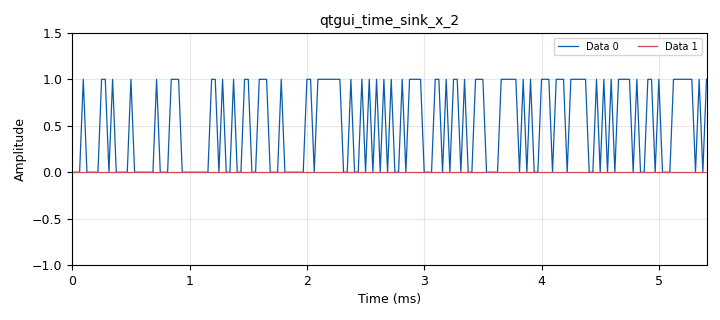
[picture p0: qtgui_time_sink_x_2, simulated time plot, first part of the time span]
<?xml version='1.0' encoding='utf-8'?>
<?grc format='1' created='3.7.11'?>
<flow_graph>
<block>
<key>options</key>
<param><key>id</key><value>corr_test</value></param>
<param><key>generate_options</key><value>qt_gui</value></param>
</block>
<block>
<key>variable</key>
<param><key>id</key><value>SPS</value></param>
<param><key>comment</key><value>Samples 
per signal</value></param>
<param><key>_enabled</key><value>0</value></param>
<param><key>value</key><value>50</value></param>
</block>
<block>
<key>variable</key>
<param><key>id</key><value>samp_rate</value></param>
<param><key>value</key><value>32000</value></param>
</block>
<block>
<key>analog_const_source_x</key>
<param><key>id</key><value>analog_const_source_x_0</value></param>
<param><key>const</key><value>0</value></param>
<param><key>type</key><value>float</value></param>
</block>
<block>
<key>analog_random_source_x</key>
<param><key>id</key><value>analog_random_source_x_0</value></param>
<param><key>max</key><value>256</value></param>
<param><key>min</key><value>0</value></param>
<param><key>num_samps</key><value>50</value></param>
<param><key>type</key><value>byte</value></param>
<param><key>repeat</key><value>True</value></param>
</block>
<block>
<key>blocks_char_to_float</key>
<param><key>id</key><value>blocks_char_to_float_0</value></param>
<param><key>_enabled</key><value>0</value></param>
<param><key>scale</key><value>1</value></param>
</block>
<block>
<key>blocks_char_to_float</key>
<param><key>id</key><value>blocks_char_to_float_1</value></param>
<param><key>_enabled</key><value>0</value></param>
<param><key>scale</key><value>1</value></param>
</block>
<block>
<key>blocks_char_to_float</key>
<param><key>id</key><value>blocks_char_to_float_2</value></param>
<param><key>_enabled</key><value>0</value></param>
<param><key>scale</key><value>1</value></param>
</block>
<block>
<key>blocks_char_to_float</key>
<param><key>id</key><value>blocks_char_to_float_2_0</value></param>
<param><key>scale</key><value>1</value></param>
</block>
<block>
<key>blocks_file_source</key>
<param><key>id</key><value>blocks_file_source_0</value></param>
<param><key>_enabled</key><value>0</value></param>
<param><key>file</key><value>/home/peter/Desktop/acoustic_radio/Testings/bin_test.txt</value></param>
<param><key>type</key><value>byte</value></param>
<param><key>repeat</key><value>True</value></param>
</block>
<block>
<key>blocks_float_to_char</key>
<param><key>id</key><value>blocks_float_to_char_0</value></param>
<param><key>_enabled</key><value>0</value></param>
<param><key>scale</key><value>1</value></param>
</block>
<block>
<key>blocks_message_debug</key>
<param><key>id</key><value>blocks_message_debug_0_0</value></param>
<param><key>comment</key><value>Display the message that was sent.</value></param>
<param><key>_enabled</key><value>0</value></param>
</block>
<block>
<key>blocks_repack_bits_bb</key>
<param><key>id</key><value>blocks_repack_bits_bb_0</value></param>
<param><key>k</key><value>8</value></param>
<param><key>l</key><value>1</value></param>
<param><key>endianness</key><value>gr.GR_MSB_FIRST</value></param>
<param><key>len_tag_key</key><value>len_key</value></param>
</block>
<block>
<key>blocks_repack_bits_bb</key>
<param><key>id</key><value>blocks_repack_bits_bb_0_0_0_0</value></param>
<param><key>k</key><value>1</value></param>
<param><key>l</key><value>8</value></param>
<param><key>comment</key><value>Tagged Stream to PDU block up ahead needs packed bytes</value></param>
<param><key>endianness</key><value>gr.GR_MSB_FIRST</value></param>
<param><key>len_tag_key</key><value>len_key2</value></param>
</block>
<block>
<key>blocks_repeat</key>
<param><key>id</key><value>blocks_repeat_0</value></param>
<param><key>comment</key><value>Establish number of
samples per symbol</value></param>
<param><key>_enabled</key><value>0</value></param>
<param><key>interp</key><value>SPS-1</value></param>
<param><key>type</key><value>byte</value></param>
</block>
<block>
<key>blocks_stream_to_tagged_stream</key>
<param><key>id</key><value>blocks_stream_to_tagged_stream_1</value></param>
<param><key>len_tag_key</key><value>"len_key"</value></param>
<param><key>packet_len</key><value>8</value></param>
<param><key>type</key><value>byte</value></param>
</block>
<block>
<key>blocks_tag_gate</key>
<param><key>id</key><value>blocks_tag_gate_0</value></param>
<param><key>type</key><value>byte</value></param>
<param><key>propagate_tags</key><value>False</value></param>
</block>
<block>
<key>blocks_tagged_stream_mux</key>
<param><key>id</key><value>blocks_tagged_stream_mux_0</value></param>
<param><key>comment</key><value>Append header to payload</value></param>
<param><key>type</key><value>byte</value></param>
<param><key>lengthtagname</key><value>len_key</value></param>
<param><key>ninputs</key><value>2</value></param>
</block>
<block>
<key>blocks_tagged_stream_to_pdu</key>
<param><key>id</key><value>blocks_tagged_stream_to_pdu_0_0</value></param>
<param><key>_enabled</key><value>0</value></param>
<param><key>type</key><value>byte</value></param>
<param><key>tag</key><value>len_key2</value></param>
</block>
<block>
<key>blocks_throttle</key>
<param><key>id</key><value>blocks_throttle_0</value></param>
<param><key>samples_per_second</key><value>samp_rate</value></param>
<param><key>type</key><value>byte</value></param>
</block>
<block>
<key>digital_correlate_access_code_xx_ts</key>
<param><key>id</key><value>digital_correlate_access_code_xx_ts_1_0_0</value></param>
<param><key>access_code</key><value>11001010</value></param>
<param><key>comment</key><value>Correlates with access code to extract the payload.
This block takes one bit per byte.</value></param>
<param><key>type</key><value>byte</value></param>
<param><key>tagname</key><value>len_key</value></param>
<param><key>threshold</key><value>2</value></param>
</block>
<block>
<key>digital_protocol_formatter_bb</key>
<param><key>id</key><value>digital_protocol_formatter_bb_0</value></param>
<param><key>comment</key><value>Generate header</value></param>
<param><key>format</key><value>hdr_format</value></param>
<param><key>len_tag_key</key><value>len_key</value></param>
</block>
<block>
<key>fec_ber_bf</key>
<param><key>id</key><value>fec_ber_bf_0</value></param>
<param><key>berminerrors</key><value>8000</value></param>
<param><key>test_mode</key><value>True</value></param>
</block>
<block>
<key>parameter</key>
<param><key>id</key><value>hdr_format</value></param>
<param><key>comment</key><value>Header format definition</value></param>
<param><key>label</key><value>Header Formatter</value></param>
<param><key>value</key><value>digital.header_format_default('110010101100101011001010', 0)</value></param>
</block>
<block>
<key>math</key>
<param><key>id</key><value>math_0</value></param>
<param><key>num_inputs</key><value>1</value></param>
<param><key>function</key><value>100*10^x</value></param>
</block>
<block>
<key>qtgui_number_sink</key>
<param><key>id</key><value>qtgui_number_sink_0</value></param>
<param><key>autoscale</key><value>True</value></param>
<param><key>graph_type</key><value>qtgui.NUM_GRAPH_HORIZ</value></param>
<param><key>type</key><value>float</value></param>
</block>
<block>
<key>qtgui_time_sink_x</key>
<param><key>id</key><value>qtgui_time_sink_x_0</value></param>
<param><key>_enabled</key><value>0</value></param>
<param><key>color1</key><value>"blue"</value></param>
<param><key>label1</key><value></value></param>
<param><key>size</key><value>1024</value></param>
<param><key>srate</key><value>samp_rate</value></param>
<param><key>type</key><value>float</value></param>
</block>
<block>
<key>qtgui_time_sink_x</key>
<param><key>id</key><value>qtgui_time_sink_x_2</value></param>
<param><key>color1</key><value>"blue"</value></param>
<param><key>label1</key><value></value></param>
<param><key>color2</key><value>"red"</value></param>
<param><key>label2</key><value></value></param>
<param><key>nconnections</key><value>2</value></param>
<param><key>size</key><value>2048</value></param>
<param><key>srate</key><value>samp_rate</value></param>
<param><key>type</key><value>float</value></param>
<param><key>ymax</key><value>1.5</value></param>
</block>
<block>
<key>rational_resampler_xxx</key>
<param><key>id</key><value>rational_resampler_xxx_0</value></param>
<param><key>decim</key><value>SPS-1</value></param>
<param><key>_enabled</key><value>0</value></param>
<param><key>interp</key><value>1</value></param>
<param><key>taps</key><value></value></param>
<param><key>type</key><value>fff</value></param>
</block>
<connection><source_block_id>analog_const_source_x_0</source_block_id><sink_block_id>qtgui_time_sink_x_2</sink_block_id><source_key>0</source_key><sink_key>1</sink_key></connection>
<connection><source_block_id>analog_random_source_x_0</source_block_id><sink_block_id>blocks_char_to_float_0</sink_block_id><source_key>0</source_key><sink_key>0</sink_key></connection>
<connection><source_block_id>analog_random_source_x_0</source_block_id><sink_block_id>blocks_throttle_0</sink_block_id><source_key>0</source_key><sink_key>0</sink_key></connection>
<connection><source_block_id>blocks_char_to_float_0</source_block_id><sink_block_id>qtgui_time_sink_x_0</sink_block_id><source_key>0</source_key><sink_key>0</sink_key></connection>
<connection><source_block_id>blocks_char_to_float_1</source_block_id><sink_block_id>rational_resampler_xxx_0</sink_block_id><source_key>0</source_key><sink_key>0</sink_key></connection>
<connection><source_block_id>blocks_char_to_float_2</source_block_id><sink_block_id>qtgui_time_sink_x_2</sink_block_id><source_key>0</source_key><sink_key>1</sink_key></connection>
<connection><source_block_id>blocks_char_to_float_2_0</source_block_id><sink_block_id>qtgui_time_sink_x_2</sink_block_id><source_key>0</source_key><sink_key>0</sink_key></connection>
<connection><source_block_id>blocks_file_source_0</source_block_id><sink_block_id>blocks_throttle_0</sink_block_id><source_key>0</source_key><sink_key>0</sink_key></connection>
<connection><source_block_id>blocks_float_to_char_0</source_block_id><sink_block_id>blocks_char_to_float_2</sink_block_id><source_key>0</source_key><sink_key>0</sink_key></connection>
<connection><source_block_id>blocks_float_to_char_0</source_block_id><sink_block_id>digital_correlate_access_code_xx_ts_1_0_0</sink_block_id><source_key>0</source_key><sink_key>0</sink_key></connection>
<connection><source_block_id>blocks_repack_bits_bb_0</source_block_id><sink_block_id>blocks_tag_gate_0</sink_block_id><source_key>0</source_key><sink_key>0</sink_key></connection>
<connection><source_block_id>blocks_repack_bits_bb_0_0_0_0</source_block_id><sink_block_id>blocks_char_to_float_2</sink_block_id><source_key>0</source_key><sink_key>0</sink_key></connection>
<connection><source_block_id>blocks_repack_bits_bb_0_0_0_0</source_block_id><sink_block_id>blocks_tagged_stream_to_pdu_0_0</sink_block_id><source_key>0</source_key><sink_key>0</sink_key></connection>
<connection><source_block_id>blocks_repack_bits_bb_0_0_0_0</source_block_id><sink_block_id>fec_ber_bf_0</sink_block_id><source_key>0</source_key><sink_key>1</sink_key></connection>
<connection><source_block_id>blocks_repeat_0</source_block_id><sink_block_id>blocks_char_to_float_1</sink_block_id><source_key>0</source_key><sink_key>0</sink_key></connection>
<connection><source_block_id>blocks_stream_to_tagged_stream_1</source_block_id><sink_block_id>blocks_tagged_stream_mux_0</sink_block_id><source_key>0</source_key><sink_key>1</sink_key></connection>
<connection><source_block_id>blocks_stream_to_tagged_stream_1</source_block_id><sink_block_id>digital_protocol_formatter_bb_0</sink_block_id><source_key>0</source_key><sink_key>0</sink_key></connection>
<connection><source_block_id>blocks_tag_gate_0</source_block_id><sink_block_id>blocks_repeat_0</sink_block_id><source_key>0</source_key><sink_key>0</sink_key></connection>
<connection><source_block_id>blocks_tag_gate_0</source_block_id><sink_block_id>digital_correlate_access_code_xx_ts_1_0_0</sink_block_id><source_key>0</source_key><sink_key>0</sink_key></connection>
<connection><source_block_id>blocks_tagged_stream_mux_0</source_block_id><sink_block_id>blocks_repack_bits_bb_0</sink_block_id><source_key>0</source_key><sink_key>0</sink_key></connection>
<connection><source_block_id>blocks_tagged_stream_to_pdu_0_0</source_block_id><sink_block_id>blocks_message_debug_0_0</sink_block_id><source_key>pdus</source_key><sink_key>print</sink_key></connection>
<connection><source_block_id>blocks_throttle_0</source_block_id><sink_block_id>blocks_stream_to_tagged_stream_1</sink_block_id><source_key>0</source_key><sink_key>0</sink_key></connection>
<connection><source_block_id>blocks_throttle_0</source_block_id><sink_block_id>fec_ber_bf_0</sink_block_id><source_key>0</source_key><sink_key>0</sink_key></connection>
<connection><source_block_id>digital_correlate_access_code_xx_ts_1_0_0</source_block_id><sink_block_id>blocks_char_to_float_2_0</sink_block_id><source_key>0</source_key><sink_key>0</sink_key></connection>
<connection><source_block_id>digital_correlate_access_code_xx_ts_1_0_0</source_block_id><sink_block_id>blocks_repack_bits_bb_0_0_0_0</sink_block_id><source_key>0</source_key><sink_key>0</sink_key></connection>
<connection><source_block_id>digital_protocol_formatter_bb_0</source_block_id><sink_block_id>blocks_tagged_stream_mux_0</sink_block_id><source_key>0</source_key><sink_key>0</sink_key></connection>
<connection><source_block_id>fec_ber_bf_0</source_block_id><sink_block_id>math_0</sink_block_id><source_key>0</source_key><sink_key>0</sink_key></connection>
<connection><source_block_id>math_0</source_block_id><sink_block_id>qtgui_number_sink_0</sink_block_id><source_key>0</source_key><sink_key>0</sink_key></connection>
<connection><source_block_id>rational_resampler_xxx_0</source_block_id><sink_block_id>blocks_float_to_char_0</sink_block_id><source_key>0</source_key><sink_key>0</sink_key></connection>
</flow_graph>
